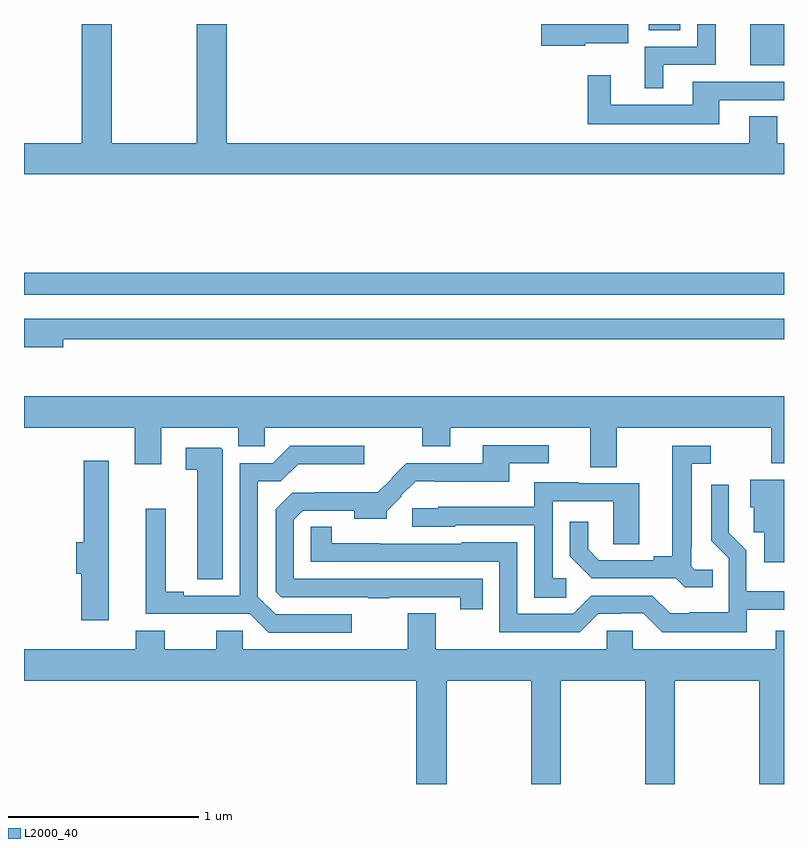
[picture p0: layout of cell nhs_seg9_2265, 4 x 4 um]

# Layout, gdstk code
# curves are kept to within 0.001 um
import gdstk
lib = gdstk.Library(unit=1e-6, precision=1e-09)
def R(c, l, rs):  # rectangles x0, y0, x1, y1
    for r in rs: c.add(gdstk.rectangle(r[:2], r[2:], *l))
def P(c, l, *ps):  # polygons
    for p in ps: c.add(gdstk.Polygon(p, *l))
L2000_40 = (2000, 40)

nhs_seg9_2265 = lib.new_cell('nhs_seg9_2265')
R(nhs_seg9_2265, L2000_40, [(239,1241.076,243,1241.192), (242.822,1242.284,243,1242.5), (242.288,1242.466,242.455,1242.5)])
P(nhs_seg9_2265, L2000_40, [(243,1241.872),(242.964,1241.872),(242.964,1242.014),(242.816,1242.014),(242.816,1241.872),(240.068,1241.872),(240.068,1242.5),(239.908,1242.5),(239.908,1241.872),(239.463,1241.872),(239.463,1242.5),(239.303,1242.5),(239.303,1241.872),(239,1241.872),(239,1241.708),(243,1241.708)],
  [(242.365,1242.285),(242.642,1242.285),(242.642,1242.5),(242.544,1242.5),(242.544,1242.381),(242.267,1242.381),(242.267,1242.161),(242.365,1242.161)],
  [(241.953,1242.398),(242.179,1242.398),(242.179,1242.5),(241.722,1242.5),(241.722,1242.386),(241.953,1242.386)],
  [(242.659,1242.099),(243,1242.099),(243,1242.195),(242.519,1242.195),(242.519,1242.076),(242.089,1242.076),(242.089,1242.229),(241.968,1242.229),(241.968,1241.972),(242.659,1241.972)],
  [(239.206,1240.842),(243,1240.842),(243,1240.95),(239,1240.95),(239,1240.799),(239.206,1240.799)],
  [(242.119,1240.376),(242.932,1240.376),(242.932,1240.187),(243,1240.187),(243,1240.54),(239,1240.54),(239,1240.376),(239.582,1240.376),(239.582,1240.182),(239.722,1240.182),(239.722,1240.376),(240.128,1240.376),(240.128,1240.278),(240.267,1240.278),(240.267,1240.376),(241.096,1240.376),(241.096,1240.277),(241.243,1240.277),(241.243,1240.376),(241.979,1240.376),(241.979,1240.168),(242.119,1240.168)],
  [(241.415,1239.579),(240.42,1239.579),(240.42,1239.891),(240.468,1239.939),(240.737,1239.939),(240.737,1239.896),(240.908,1239.896),(240.908,1239.936),(240.987,1240.014),(240.984,1240.017),(241.061,1240.094),(241.162,1240.094),(241.162,1240.091),(241.555,1240.091),(241.555,1240.188),(241.762,1240.188),(241.762,1240.284),(241.415,1240.284),(241.415,1240.188),(241.011,1240.188),(240.935,1240.111),(240.937,1240.109),(240.863,1240.036),(240.529,1240.036),(240.529,1240.034),(240.413,1240.034),(240.324,1239.945),(240.324,1239.513),(240.354,1239.483),(240.811,1239.483),(240.811,1239.478),(240.923,1239.478),(240.923,1239.483),(241.297,1239.483),(241.297,1239.42),(241.415,1239.42)],
  [(242.624,1239.627),(242.529,1239.627),(242.511,1239.645),(242.511,1239.745),(242.515,1239.745),(242.515,1240.185),(242.614,1240.185),(242.614,1240.281),(242.411,1240.281),(242.411,1239.698),(242.315,1239.698),(242.315,1239.678),(242.026,1239.678),(241.969,1239.735),(241.969,1239.88),(241.872,1239.88),(241.872,1239.698),(241.988,1239.582),(242.43,1239.582),(242.478,1239.535),(242.624,1239.535)],
  [(240.724,1239.393),(240.324,1239.393),(240.231,1239.486),(240.231,1240.093),(240.352,1240.093),(240.443,1240.184),(240.79,1240.184),(240.79,1240.281),(240.402,1240.281),(240.309,1240.188),(240.135,1240.188),(240.135,1239.492),(239.842,1239.492),(239.842,1239.512),(239.746,1239.512),(239.746,1239.949),(239.642,1239.949),(239.642,1239.396),(240.188,1239.396),(240.287,1239.297),(240.724,1239.297)],
  [(240.046,1240.259),(240.036,1240.269),(239.85,1240.269),(239.85,1240.153),(239.912,1240.153),(239.912,1239.577),(240.046,1239.577)],
  [(239.446,1240.201),(239.315,1240.201),(239.315,1239.773),(239.276,1239.773),(239.276,1239.606),(239.3,1239.606),(239.3,1239.362),(239.446,1239.362)],
  [(243,1240.102),(242.822,1240.102),(242.822,1239.957),(242.841,1239.957),(242.841,1239.825),(242.897,1239.825),(242.897,1239.666),(243,1239.666)],
  [(241.855,1239.582),(241.782,1239.582),(241.782,1239.987),(242.1,1239.987),(242.1,1239.763),(242.239,1239.763),(242.239,1240.083),(241.921,1240.083),(241.921,1240.087),(241.685,1240.087),(241.685,1239.958),(241.179,1239.958),(241.179,1239.951),(241.044,1239.951),(241.044,1239.855),(241.269,1239.855),(241.269,1239.861),(241.686,1239.861),(241.686,1239.481),(241.855,1239.481)],
  [(242.803,1239.417),(243,1239.417),(243,1239.514),(242.802,1239.514),(242.802,1239.73),(242.71,1239.822),(242.71,1240.075),(242.616,1240.075),(242.616,1239.78),(242.709,1239.687),(242.709,1239.403),(242.5,1239.403),(242.5,1239.399),(242.4,1239.399),(242.307,1239.492),(241.986,1239.492),(241.89,1239.396),(241.596,1239.396),(241.596,1239.772),(241.305,1239.772),(241.305,1239.765),(240.619,1239.766),(240.619,1239.854),(240.51,1239.854),(240.51,1239.669),(241.5,1239.669),(241.5,1239.3),(241.926,1239.3),(242.022,1239.396),(242.142,1239.396),(242.142,1239.399),(242.259,1239.399),(242.359,1239.299),(242.803,1239.299)],
  [(241.224,1239.044),(241.669,1239.044),(241.669,1238.5),(241.824,1238.5),(241.824,1239.044),(242.269,1239.044),(242.269,1238.5),(242.424,1238.5),(242.424,1239.044),(242.869,1239.044),(242.869,1238.5),(243,1238.5),(243,1239.307),(242.957,1239.307),(242.957,1239.208),(242.205,1239.208),(242.205,1239.306),(242.067,1239.306),(242.067,1239.208),(241.167,1239.208),(241.167,1239.398),(241.019,1239.398),(241.019,1239.208),(240.15,1239.208),(240.15,1239.306),(240.011,1239.306),(240.011,1239.208),(239.74,1239.208),(239.74,1239.307),(239.588,1239.307),(239.588,1239.208),(239,1239.208),(239,1239.044),(241.064,1239.044),(241.064,1238.5),(241.224,1238.5)])

lib.write_gds('nhs_seg9_2265.gds')
